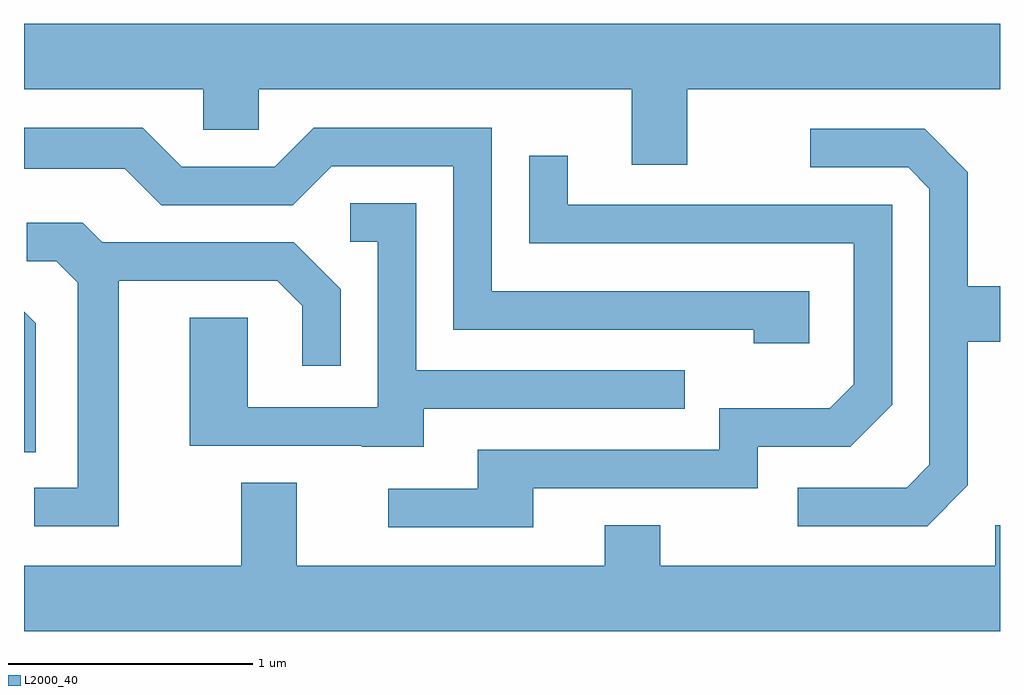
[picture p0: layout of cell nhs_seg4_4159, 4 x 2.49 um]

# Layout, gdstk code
import gdstk
lib = gdstk.Library(unit=1e-6, precision=1e-09)
def P(c, l, *ps):  # polygons
    for p in ps: c.add(gdstk.Polygon(p, *l))
L2000_40 = (2000, 40)

nhs_seg4_4159 = lib.new_cell('nhs_seg4_4159')
P(nhs_seg4_4159, L2000_40, [(310.329,1279.196),(311.611,1279.196),(311.611,1279.464),(307.611,1279.464),(307.611,1279.196),(308.346,1279.196),(308.346,1279.031),(308.574,1279.031),(308.574,1279.196),(310.101,1279.196),(310.101,1278.886),(310.329,1278.886)],
  [(310.829,1278.369),(309.529,1278.369),(309.529,1279.039),(308.799,1279.039),(308.639,1278.879),(308.257,1278.879),(308.097,1279.039),(307.611,1279.039),(307.611,1278.871),(308.024,1278.871),(308.174,1278.721),(308.712,1278.721),(308.872,1278.881),(309.371,1278.881),(309.371,1278.211),(310.601,1278.211),(310.601,1278.156),(310.829,1278.156)],
  [(311.479,1277.574),(311.479,1278.161),(311.611,1278.161),(311.611,1278.389),(311.479,1278.389),(311.479,1278.857),(311.302,1279.034),(310.833,1279.034),(310.833,1278.876),(311.234,1278.876),(311.321,1278.789),(311.321,1277.657),(311.229,1277.564),(310.783,1277.564),(310.783,1277.406),(311.312,1277.406)],
  [(309.699,1277.561),(310.619,1277.561),(310.619,1277.731),(310.997,1277.731),(311.169,1277.904),(311.169,1278.724),(309.839,1278.724),(309.839,1278.923),(309.681,1278.923),(309.681,1278.566),(311.011,1278.566),(311.011,1277.987),(310.914,1277.889),(310.461,1277.889),(310.461,1277.719),(309.471,1277.719),(309.471,1277.559),(309.103,1277.559),(309.103,1277.401),(309.699,1277.401)],
  [(309.249,1277.886),(310.318,1277.886),(310.318,1278.044),(309.219,1278.044),(309.219,1278.729),(308.948,1278.729),(308.948,1278.571),(309.061,1278.571),(309.061,1277.894),(308.529,1277.894),(308.529,1278.259),(308.291,1278.259),(308.291,1277.736),(308.995,1277.736),(308.995,1277.731),(309.249,1277.731)],
  [(307.999,1278.411),(308.649,1278.411),(308.751,1278.309),(308.751,1278.063),(308.909,1278.063),(308.909,1278.377),(308.717,1278.569),(307.932,1278.569),(307.852,1278.649),(307.623,1278.649),(307.623,1278.491),(307.744,1278.491),(307.831,1278.404),(307.831,1277.564),(307.653,1277.564),(307.653,1277.406),(307.999,1277.406)],
  [(307.659,1278.237),(307.611,1278.285),(307.611,1277.708),(307.659,1277.708)],
  [(311.611,1277.409),(311.591,1277.409),(311.591,1277.244),(310.219,1277.244),(310.219,1277.409),(309.991,1277.409),(309.991,1277.244),(308.729,1277.244),(308.729,1277.584),(308.501,1277.584),(308.501,1277.244),(307.611,1277.244),(307.611,1276.976),(311.611,1276.976)])

lib.write_gds('nhs_seg4_4159.gds')
